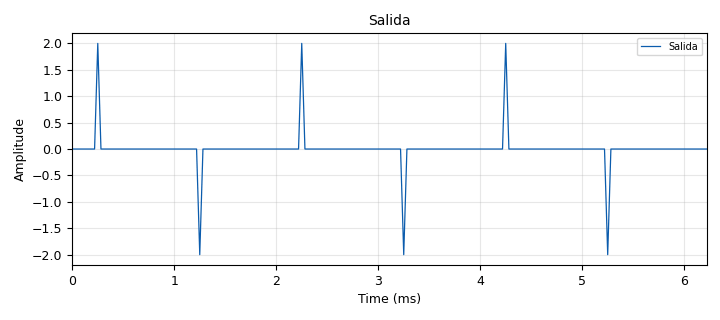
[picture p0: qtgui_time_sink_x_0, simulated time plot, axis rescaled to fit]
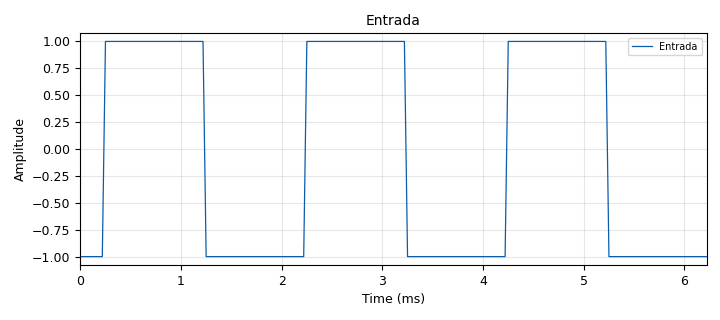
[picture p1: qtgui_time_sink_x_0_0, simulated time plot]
options:
  parameters:
    generate_options: qt_gui
    id: Práctica_1
    output_language: python
    title: Practica 2
  states: {}

blocks:
- name: samp_rate
  id: variable
  parameters:
    value: '32000'
  states: {}
- name: blocks_throttle2_0
  id: blocks_throttle2
  parameters:
    samples_per_second: samp_rate
    type: float
  states: {}
- name: blocks_vector_source_x_0
  id: blocks_vector_source_x
  parameters:
    repeat: 'True'
    type: float
    vector: (1, 1, 1, 1,1, 1, 1, 1,1, 1, 1, 1,1, 1, 1, 1,1, 1, 1, 1,1, 1, 1, 1,1, 1, 1, 1,1, 1, 1, 1,-1, -1, -1, -1,-1, -1, -1, -1,-1, -1, -1, -1,-1, -1, -1, -1,-1, -1, -1, -1,-1, -1, -1, -1,-1, -1, -1, -1,-1, -1, -1, -1)
  states: {}
- name: epy_block_0_0_0
  id: epy_block
  parameters:
    _source_code: |
      import numpy as np
      from gnuradio import gr
      class blk (gr. sync_block ):
          def __init__ ( self ) : # only default arguments here
              gr. sync_block . __init__ (self,
              name ='e_Acum ', # will show up in GRC
              in_sig =[ np. float32 ],
              out_sig =[ np. float32 ]
          )
          def work (self , input_items , output_items ):
              x = input_items [0] # Senial de entrada .
              y0 = output_items [0] # Senial acumulada
              y0 [:] = np. cumsum (x)
              
              return len (y0)
  states: {state: disabled}
- name: epy_block_0_0_0_0
  id: epy_block
  parameters:
    _source_code: |
      import numpy as np
      from gnuradio import gr

      class blk(gr.sync_block):
          def __init__(self):
              gr.sync_block.__init__(
                  self,
                  name='diferenciador',   # aparecerá en GRC
                  in_sig=[np.float32],
                  out_sig=[np.float32]
              )
              self.last_sample = 0.0   # última muestra del bloque anterior

          def work(self, input_items, output_items):
              x = input_items[0]   # señal de entrada
              y0 = output_items[0] # señal de salida (diferenciada)

              # Calcular diferencias
              y0[0] = x[0] - self.last_sample   # primera diferencia usando la memoria
              y0[1:] = np.diff(x)               # diferencias dentro del bloque

              # Guardar la última muestra del bloque actual
              self.last_sample = x[-1]

              return len(y0)
  states: {}
- name: qtgui_time_sink_x_0
  id: qtgui_time_sink_x
  parameters:
    label1: Salida
    name: '"Salida"'
    size: '200'
    srate: samp_rate
    type: float
  states: {}
- name: qtgui_time_sink_x_0_0
  id: qtgui_time_sink_x
  parameters:
    label1: Entrada
    name: '"Entrada"'
    size: '200'
    srate: samp_rate
    type: float
  states: {}

connections:
- [blocks_throttle2_0, '0', qtgui_time_sink_x_0, '0']
- [blocks_vector_source_x_0, '0', epy_block_0_0_0, '0']
- [blocks_vector_source_x_0, '0', epy_block_0_0_0_0, '0']
- [blocks_vector_source_x_0, '0', qtgui_time_sink_x_0_0, '0']
- [epy_block_0_0_0, '0', blocks_throttle2_0, '0']
- [epy_block_0_0_0_0, '0', blocks_throttle2_0, '0']

metadata:
  file_format: 1
  grc_version: v3.10.11.0-89-ga17f69e7
